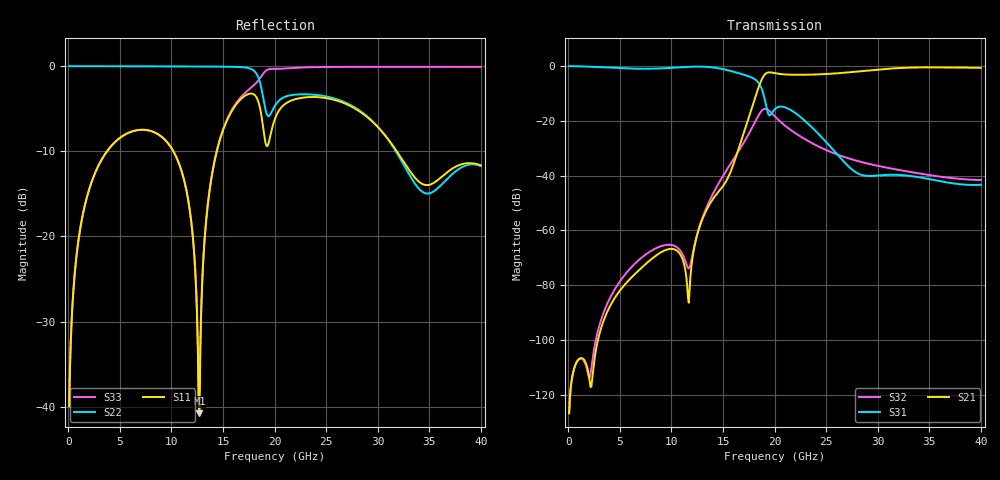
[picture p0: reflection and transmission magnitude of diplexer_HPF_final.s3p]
! Touchstone file exported from HFSS 2021.2.0
!  File:  D:/Desktop/HFSS_real/12GHzdiplexer2/derived/refine27/r27_c1y022/r27_c1y022.aedt
!  Generated:  11:43:55 %x4E0A%x5348  4%x6708 28, 2026
!  Design:  HFSSDesign1
!  Project:  r27_c1y022
!  Setup:  Setup1
!  Solution:  Sweep
! Variables:
!  L2_g112g = 7.2e-05
!  L2_g212g = 0.075mm
!  L2_g312g = 0.75mm
!  L2_g412g = 0.3mm
!  L4_g112g = 9.6e-05
!  L4_g212g = 0.08mm
!  L4_g312g = 0.85mm
!  L4_g412g = 0.3mm
!  compensation_y = 0.0249999999999998mm
!  compensation_y_2 = 0.0200000000000001mm
!  copper = 0.035mm
!  cover_HPF_out12g = 0.1mm
!  d_L212g = 1.41mm
!  d_L412g = 0.62mm
!  delta_cover_HPF12g = 0.05mm
!  delta_x_HP12g = 0.05mm
!  gap_down_box12g = 0.2mm
!  gap_up_box12g = 0mm
!  h_down_box12g = 0.25mm
!  h_sub12G = 0.254mm
!  h_up_box12g = 0.25mm
!  index1 = 0.6m
!  l_C212g = 0.4554mm
!  l_C412g = 0.5544mm
!  l_L112g = 0.4644mm
!  l_L312g = 0.8208mm
!  l_L512g = 0.693mm
!  l_line112g = 2mm
!  l_line212g = 1mm
!  l_line312g = 0.04mm
!  l_line412g = 1mm
!  l_sub12g = 2.576mm
!  l_sub_LPF12g = 4.008mm
!  w_C1 = 0.37mm
!  w_C1_y = 0.22mm
!  w_C212g = 1.45mm
!  w_C412g = 1.45mm
!  w_L112g = 0.09mm
!  w_L212g = 0.0064mm
!  w_L312g = 0.03mm
!  w_L412g = 0.0112mm
!  w_L512g = 0.08mm
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# GHz S MA R 50.000000
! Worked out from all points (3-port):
!   500 points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, 80 MHz to 40 GHz, reference 50 ohm
!   strongest paths, dB at 80 MHz, 10.08 GHz, 20.08 GHz, 30.08 GHz, 40 GHz:
!     S21: -126.8, -66.8, -2.6, -1.2, -0.6
!     S31: 0.0, -0.6, -15.5, -39.9, -43.3
!     S32: -126.7, -65.4, -18.5, -36.5, -41.6
!   lowest |S11| = -40.8 dB at 12.72 GHz (marker M1), VSWR 1.02, Z = 49.5 + j0.751 ohm
!   |S11| at or under -10 dB: start of sweep to 3.754 GHz; 10.19 GHz to 14.4 GHz (4.215 GHz wide, 34.3 % of centre); 31.85 GHz to end of sweep
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0.08  0.01008 -130.0  4.57e-07 88.4  0.9995 -1.6
      4.57e-07 88.4  1 -0.5  4.598e-07 88.5
      0.9995 -1.6  4.598e-07 88.5  0.01004 -47.7
6.72  0.4209 135.5  0.0001782 -125.6  0.8984 -126.8
      0.0001782 -125.6  0.9982 -43.3  0.000275 140.3
      0.8984 -126.8  0.000275 140.3  0.4212 151.4
11.68  0.1564 24.4  4.784e-05 99.6  0.9719 131.5
       4.784e-05 99.6  0.9962 -78.1  0.0002018 118.0
       0.9719 131.5  0.0002018 118.0  0.1561 63.5
12.72  0.009139 123.9  0.00115 12.4  0.9818 104.8
       0.00115 12.4  0.9956 -86.1  0.00119 171.1
       0.9818 104.8  0.00119 171.1  0.01225 164.7
14.72  0.3729 102.1  0.005536 -6.8  0.9032 47.8
       0.005536 -6.8  0.9937 -102.8  0.008083 122.3
       0.9032 47.8  0.008083 122.3  0.3778 170.2
20.08  0.4987 -21.8  0.7438 -168.8  0.1676 -82.4
       0.7438 -168.8  0.5912 -139.0  0.1183 -160.0
       0.1676 -82.4  0.1183 -160.0  0.9642 75.4
22.8  0.6539 178.3  0.6973 98.8  0.1059 -155.1
      0.6973 98.8  0.6836 -161.0  0.04814 98.6
      0.1059 -155.1  0.04814 98.6  0.9829 40.3
27.68  0.5691 28.5  0.787 -5.6  0.0122 157.4
       0.787 -5.6  0.5771 142.9  0.01939 -14.9
       0.0122 157.4  0.01939 -14.9  0.9906 -10.8
32.96  0.25 -61.6  0.9385 -104.5  0.009989 145.8
       0.9385 -104.5  0.2365 38.2  0.01186 -118.7
       0.009989 145.8  0.01186 -118.7  0.9906 -58.9
40  0.2617 -117.4  0.9343 131.4  0.006817 84.9
    0.9343 131.4  0.2586 -159.2  0.008331 118.3
    0.006817 84.9  0.008331 118.3  0.9904 -117.5
